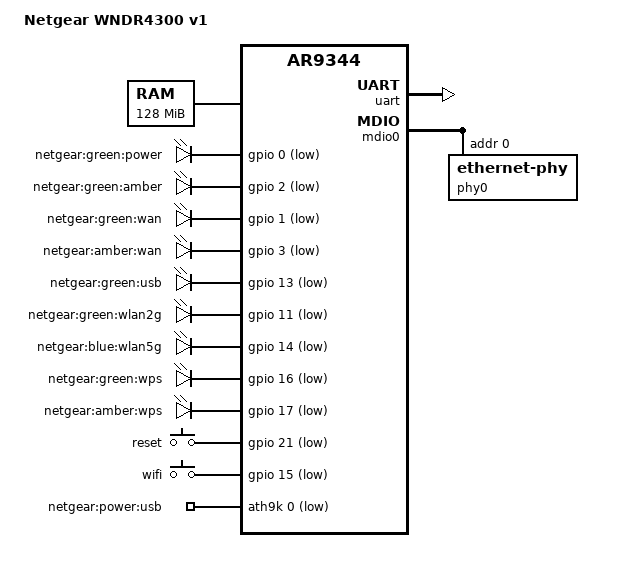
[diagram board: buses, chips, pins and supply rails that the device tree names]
// SPDX-License-Identifier: GPL-2.0-or-later OR MIT

#include <dt-bindings/gpio/gpio.h>
#include <dt-bindings/input/input.h>

#include "ar9344.dtsi"

/ {
	model = "Netgear WNDR4300 v1";
	compatible = "netgear,wndr4300-v1";

	memory@0 {
		device_type = "memory";
		reg = <0x0 0x8000000>;
	};

	aliases {
		led-status = &power-amber;
	};

	leds {
		compatible = "gpio-leds";

		power-green {
			label = "netgear:green:power";
			gpios = <&gpio 0 GPIO_ACTIVE_LOW>;
			default-state = "on";
		};

		power-amber: power-amber {
			label = "netgear:green:amber";
			gpios = <&gpio 2 GPIO_ACTIVE_LOW>;
			default-state = "off";
		};
	
		wan-green {
			label = "netgear:green:wan";
			gpios = <&gpio 1 GPIO_ACTIVE_LOW>;
			default-state = "off";
		};
	
		wan-amber {
			label = "netgear:amber:wan";
			gpios = <&gpio 3 GPIO_ACTIVE_LOW>;
			default-state = "off";
		};

		usb {
			label = "netgear:green:usb";
			gpios = <&gpio 13 GPIO_ACTIVE_LOW>;
			default-state = "off";
		};

		wlan2g {
			label = "netgear:green:wlan2g";
			gpios = <&gpio 11 GPIO_ACTIVE_LOW>;
			default-state = "off";
			linux,default-trigger = "phy0tpt";
		};

		wlan5g {
			label = "netgear:blue:wlan5g";
			gpios = <&gpio 14 GPIO_ACTIVE_LOW>;
			default-state = "off";
			linux,default-trigger = "phy1tpt";
		};

		wps-green {
			label = "netgear:green:wps";
			gpios = <&gpio 16 GPIO_ACTIVE_LOW>;
			default-state = "off";
		};

		wps-amber {
			label = "netgear:amber:wps";
			gpios = <&gpio 17 GPIO_ACTIVE_LOW>;
			default-state = "off";
		};
	};

	keys {
		compatible = "gpio-keys-polled";
		#address-cells = <1>;
		#size-cells = <0>;
		poll-interval = <20>;

		reset {
			linux,code = <KEY_RESTART>;
			gpios = <&gpio 21 GPIO_ACTIVE_LOW>;
			debounce-interval = <60>;
		};

		wifi {
			linux,code = <KEY_RFKILL>;
			linux,input-type = <EV_SW>;
			gpios = <&gpio 15 GPIO_ACTIVE_LOW>;
			debounce-interval = <60>;
		};
	};

	gpio-export {
		compatible = "gpio-export";
		#size-cells = <0>;

		gpio_usb_power {
			gpio-export,name = "netgear:power:usb";
			gpio-export,output = <1>;
			gpios = <&ath9k 0 GPIO_ACTIVE_LOW>;
		};
	};
};

&ref {
	clock-frequency = <40000000>;
};

&uart {
	status = "okay";
};

&gpio {
	status = "okay";
};

&mdio0 {
	status = "okay";

	phy-mask = <0>;

	phy0: ethernet-phy@0 {
		reg = <0>;
		phy-mode = "rgmii";

		qca,ar8327-initvals = <
			0x04 0x07600000 /* PORT0 PAD MODE CTRL */
			0x10 0x80000080 /* POWER_ON_STRIP */
			0x50 0xcc35cc35 /* LED_CTRL0 */
			0x54 0xcb37cb37 /* LED_CTRL1 */
			0x58 0x00000000 /* LED_CTRL2 */
			0x5c 0x00f3cf00 /* LED_CTRL3 */
			0x7c 0x0000007e /* PORT0_STATUS */
			>;
	};
};
